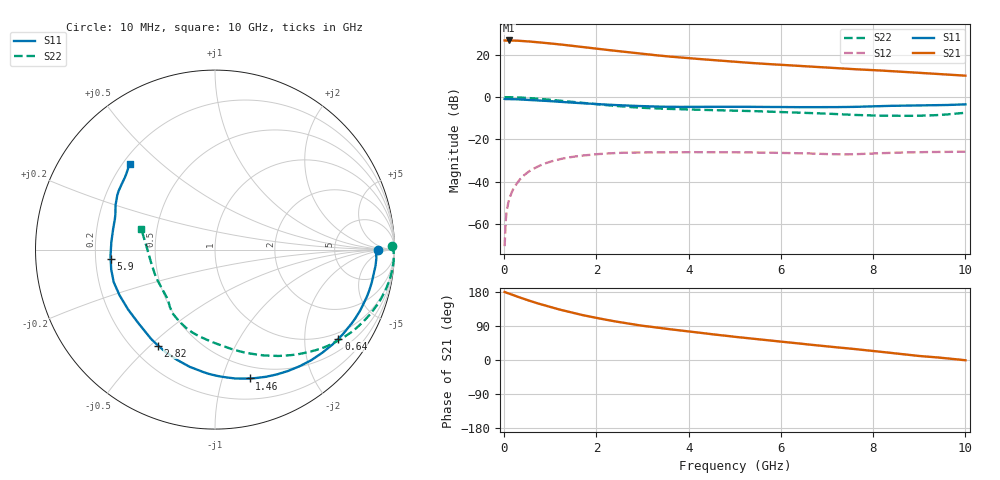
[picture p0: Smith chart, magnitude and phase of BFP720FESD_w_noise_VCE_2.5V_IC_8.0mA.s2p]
! Infineon Technologies  Discrete & RF Semiconductors
! BFP720FESD
! VCE =  2.5 V,  IC =  8.0 mA
! Common Emitter S-Parameters:  Jan 2016
# GHz  S  MA  R  50
!  f  S11  S21  S12  S22
! GHz  MAG  ANG  MAG  ANG  MAG  ANG  MAG  ANG
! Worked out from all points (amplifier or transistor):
!   233 points, 10 MHz to 10 GHz, reference 50 ohm
!   highest |S21| = 26.8 dB at 100 MHz (marker M1)
!   |S21| within 3 dB of that: start of sweep to 1.662 GHz
!   unconditionally stable (mu >= 1): start of sweep to 10.81 MHz; 6.664 GHz to end of sweep
!   at 200 MHz: K = 0.03, MSG = 35.1 dB, |S12| = -43.3 dB
!   at 1.74 GHz: K = 0.25, MSG = 25.5 dB, |S12| = -27.5 dB
!   at 10 GHz: K = 1.35, MAG = 14.4 dB, |S12| = -25.8 dB
!   lowest NFmin = 0.62 dB at 450 MHz
!   S11 on the Smith chart (normalised r, x): 10 MHz: 20, +0; 640 MHz: 0.82, -2.89; 1.46 GHz: 0.38, -1.23; 2.82 GHz: 0.30, -0.53; 5.9 GHz: 0.26, -0.04; 10 GHz: 0.23, +0.40
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0.01  0.9066 0.0  21.83 179.5  0.0003 35.1  0.9847 1.3
0.04  0.8994 -2.4  21.74 178.0  0.0014 92.1  0.9966 -1.3
0.1  0.8989 -5.7  21.84 175.7  0.0035 86.7  0.9976 -3.6
0.2  0.8926 -11.5  21.77 171.2  0.0068 83.2  0.992 -7.5
0.32  0.8838 -18.3  21.46 165.9  0.0106 79.2  0.9809 -11.9
0.48  0.8679 -27.2  20.89 159.1  0.0158 74.0  0.9602 -17.6
0.64  0.848 -35.8  20.23 152.7  0.0204 68.9  0.9337 -23.0
0.8  0.8291 -43.9  19.49 146.8  0.0248 64.3  0.9053 -28.3
1  0.803 -54.0  18.58 139.9  0.0297 58.7  0.8661 -34.6
1.2  0.7766 -63.5  17.64 133.2  0.034 53.4  0.8255 -40.6
1.46  0.743 -75.0  16.38 125.3  0.0385 47.1  0.772 -47.7
1.68  0.7177 -83.9  15.38 119.1  0.0415 42.4  0.7305 -53.4
2.2  0.6681 -102.2  13.2 106.4  0.0462 33.2  0.6483 -65.4
2.58  0.6383 -114.0  11.85 98.3  0.0483 27.7  0.5999 -73.4
2.82  0.6217 -120.7  11.07 93.6  0.049 24.7  0.5747 -77.9
3.4  0.5944 -133.8  9.503 84.1  0.0494 19.8  0.535 -86.2
4.5  0.5896 -154.4  7.554 68.0  0.0502 13.6  0.4939 -99.4
5.1  0.5913 -163.7  6.72 60.0  0.0496 11.1  0.4753 -106.4
5.9  0.5835 -175.1  5.894 49.8  0.0484 8.7  0.4494 -115.4
6.8  0.578 171.3  5.148 38.4  0.0459 8.0  0.4153 -126.0
8.4  0.6227 151.0  4.114 18.5  0.0483 14.6  0.3631 -152.4
10  0.6747 134.8  3.213 -0.7  0.0512 13.2  0.4272 164.3
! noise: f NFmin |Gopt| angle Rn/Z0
0.45  0.62  0.38  3  0.13
2.4  0.71  0.25  30  0.13
5.5  0.86  0.32  112  0.09
10  1.34  0.28  -156  0.1
